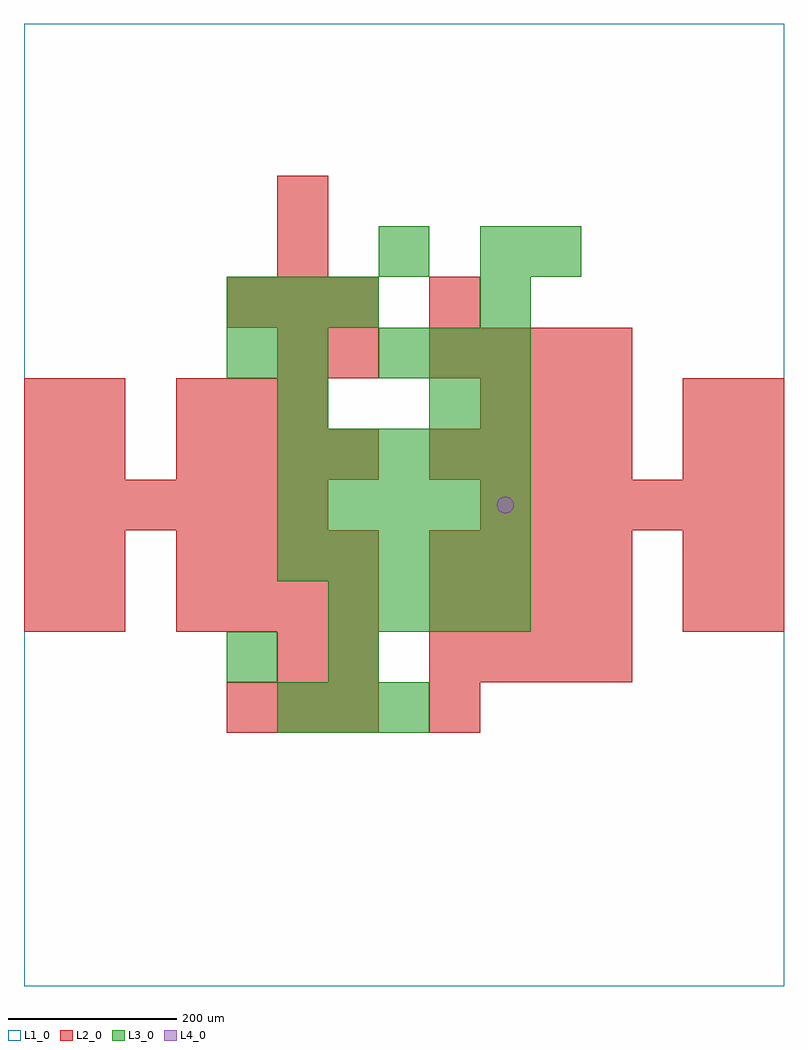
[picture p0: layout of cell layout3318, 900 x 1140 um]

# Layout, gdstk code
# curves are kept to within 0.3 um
import gdstk
lib = gdstk.Library(unit=1e-6, precision=1e-09)
def R(c, l, rs):  # rectangles x0, y0, x1, y1
    for r in rs: c.add(gdstk.rectangle(r[:2], r[2:], *l))
def A(c, l, x, y, w, h, nx, ny, dx, dy):  # array of equal rectangles
    R(c, l, [(x+i*dx, y+j*dy, x+i*dx+w, y+j*dy+h) for i in range(nx) for j in range(ny)])
def P(c, l, *ps):  # polygons
    for p in ps: c.add(gdstk.Polygon(p, *l))
L1_0 = (1, 0)
L2_0 = (2, 0)
L3_0 = (3, 0)
L4_0 = (4, 0)

layout3318 = lib.new_cell('layout3318')
R(layout3318, L1_0, [(0,0,900,1140)])
A(layout3318, L2_0, 240, 300, 60, 60, 3, 2, 60, 480)
A(layout3318, L2_0, 480, 360, 60, 60, 4, 3, 60, 60)
A(layout3318, L2_0, 180, 420, 60, 60, 4, 2, 60, 60)
A(layout3318, L2_0, 0, 540, 60, 60, 6, 1, 60, 0)
A(layout3318, L2_0, 540, 540, 60, 60, 6, 1, 60, 0)
A(layout3318, L2_0, 180, 600, 60, 60, 4, 1, 60, 0)
A(layout3318, L2_0, 480, 600, 60, 60, 4, 2, 60, 120)
A(layout3318, L2_0, 180, 660, 60, 60, 3, 1, 60, 0)
A(layout3318, L2_0, 540, 660, 60, 60, 3, 1, 60, 0)
R(layout3318, L2_0, [(480,300,540,360), (300,360,360,420), (360,360,420,420), (0,420,60,480), (60,420,120,480), (780,420,840,480), (840,420,900,480), (0,480,60,540), (60,480,120,540), (780,480,840,540), (840,480,900,540), (0,600,60,660), (60,600,120,660), (780,600,840,660), (840,600,900,660), (0,660,60,720), (60,660,120,720), (780,660,840,720), (840,660,900,720), (300,720,360,780), (360,720,420,780), (480,780,540,840), (300,840,360,900), (300,900,360,960)])
A(layout3318, L3_0, 300, 300, 60, 60, 3, 1, 60, 0)
A(layout3318, L3_0, 360, 420, 60, 60, 4, 1, 60, 0)
A(layout3318, L3_0, 300, 480, 60, 60, 5, 3, 60, 60)
A(layout3318, L3_0, 420, 720, 60, 60, 3, 1, 60, 0)
A(layout3318, L3_0, 240, 780, 60, 60, 3, 1, 60, 0)
R(layout3318, L3_0, [(240,360,300,420), (360,360,420,420), (300,660,360,720), (480,660,540,720), (540,660,600,720), (240,720,300,780), (300,720,360,780), (540,780,600,840), (420,840,480,900), (540,840,600,900), (600,840,660,900)])
P(layout3318, L4_0, [(580,570),(579.239,573.827),(577.071,577.071),(573.827,579.239),(570,580),(566.173,579.239),(562.929,577.071),(560.761,573.827),(560,570),(560.761,566.173),(562.929,562.929),(566.173,560.761),(570,560),(573.827,560.761),(577.071,562.929),(579.239,566.173)])

lib.write_gds('layout3318.gds')
